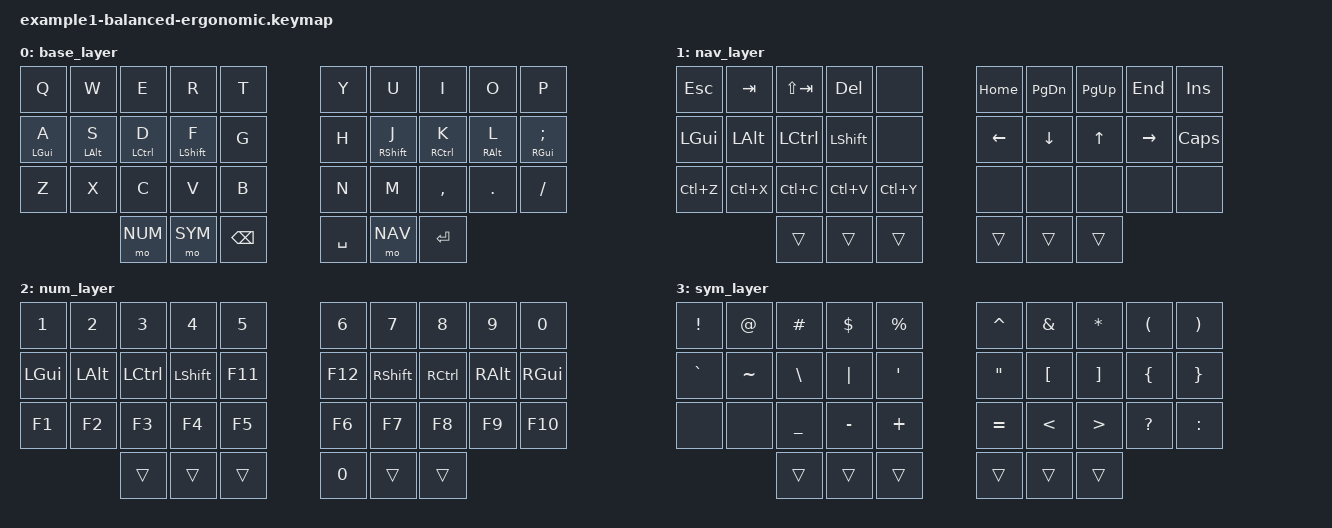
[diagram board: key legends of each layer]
// Example 1: Balanced Ergonomic Layout
// Philosophy: Maximize comfort with home row mods, balanced thumb clusters
// Focus: All-around typing efficiency with strong home position
// Thumb Strategy: Left = layers/modifiers, Right = space/navigation actions

#include <behaviors.dtsi>
#include <dt-bindings/zmk/keys.h>

#define BASE 0
#define NAV  1
#define NUM  2
#define SYM  3

/ {
    keymap {
        compatible = "zmk,keymap";

        base_layer {
            bindings = <
    // ╭─────────────┬─────────────┬─────────────┬─────────────┬─────────────╮   ╭─────────────┬─────────────┬─────────────┬─────────────┬─────────────╮
         &kp Q         &kp W         &kp E         &kp R         &kp T             &kp Y         &kp U         &kp I         &kp O         &kp P
    // ├─────────────┼─────────────┼─────────────┼─────────────┼─────────────┤   ├─────────────┼─────────────┼─────────────┼─────────────┼─────────────┤
         &mt LGUI A    &mt LALT S    &mt LCTRL D   &mt LSHFT F   &kp G             &kp H         &mt RSHFT J   &mt RCTRL K   &mt RALT L    &mt RGUI SEMI
    // ├─────────────┼─────────────┼─────────────┼─────────────┼─────────────┤   ├─────────────┼─────────────┼─────────────┼─────────────┼─────────────┤
         &kp Z         &kp X         &kp C         &kp V         &kp B             &kp N         &kp M         &kp COMMA     &kp DOT       &kp FSLH
    // ╰─────────────┴─────────────┴─────────────┼─────────────┼─────────────┤   ├─────────────┼─────────────┼─────────────┴─────────────┴─────────────╯
                                     &mo NUM       &mo SYM       &kp BSPC          &kp SPACE     &mo NAV       &kp RET
    //                               ╰─────────────┴─────────────┴─────────────╯   ╰─────────────┴─────────────┴─────────────╯
            >;
        };

        nav_layer {
            bindings = <
         &kp ESC       &kp TAB       &kp LS(TAB)   &kp DEL       &none             &kp HOME      &kp PG_DN     &kp PG_UP     &kp END       &kp INS
         &kp LGUI      &kp LALT      &kp LCTRL     &kp LSHFT     &none             &kp LEFT      &kp DOWN      &kp UP        &kp RIGHT     &kp CAPS
         &kp LC(Z)     &kp LC(X)     &kp LC(C)     &kp LC(V)     &kp LC(Y)         &none         &none         &none         &none         &none
                                     &trans        &trans        &trans            &trans        &trans        &trans
            >;
        };

        num_layer {
            bindings = <
         &kp N1        &kp N2        &kp N3        &kp N4        &kp N5            &kp N6        &kp N7        &kp N8        &kp N9        &kp N0
         &kp LGUI      &kp LALT      &kp LCTRL     &kp LSHFT     &kp F11           &kp F12       &kp RSHFT     &kp RCTRL     &kp RALT      &kp RGUI
         &kp F1        &kp F2        &kp F3        &kp F4        &kp F5            &kp F6        &kp F7        &kp F8        &kp F9        &kp F10
                                     &trans        &trans        &trans            &kp N0        &trans        &trans
            >;
        };

        sym_layer {
            bindings = <
         &kp EXCL      &kp AT        &kp HASH      &kp DLLR      &kp PRCNT         &kp CARET     &kp AMPS      &kp STAR      &kp LPAR      &kp RPAR
         &kp GRAVE     &kp TILDE     &kp BSLH      &kp PIPE      &kp SQT           &kp DQT       &kp LBKT      &kp RBKT      &kp LBRC      &kp RBRC
         &none         &none         &kp UNDER     &kp MINUS     &kp PLUS          &kp EQUAL     &kp LT        &kp GT        &kp QMARK     &kp COLON
                                     &trans        &trans        &trans            &trans        &trans        &trans
            >;
        };
    };
};
